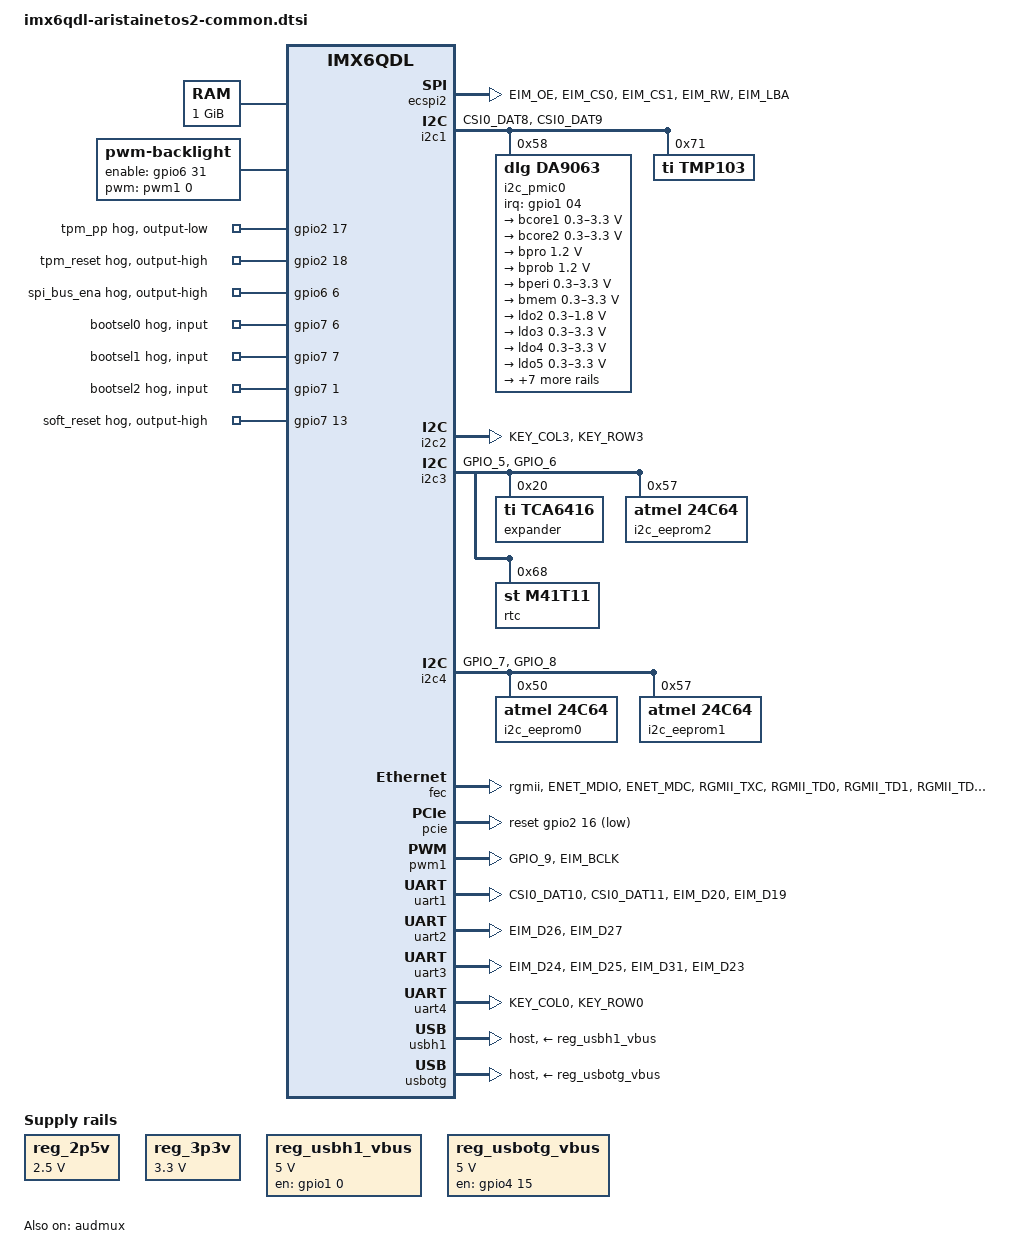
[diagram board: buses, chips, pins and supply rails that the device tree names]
// SPDX-License-Identifier: (GPL-2.0)
/*
 * support for the imx6 based aristainetos2 boards
 * parts common to all versions
 *
 * Copyright (C) 2019 Heiko Schocher <hs@denx.de>
 * Copyright (C) 2015 Heiko Schocher <hs@denx.de>
 *
 */
#include <dt-bindings/gpio/gpio.h>
#include <dt-bindings/clock/imx6qdl-clock.h>

/ {
	aliases {
		eeprom0 = &i2c_eeprom0;
		eeprom1 = &i2c_eeprom1;
		eeprom2 = &i2c_eeprom2;
		pmic0 = &i2c_pmic0;
	};

	memory@10000000 {
		device_type = "memory";
		reg = <0x10000000 0x40000000>;
	};

	backlight: backlight {
		compatible = "pwm-backlight";
		pwms = <&pwm1 0 5000000>;
		brightness-levels = <0 4 8 16 32 64 128 255>;
		default-brightness-level = <7>;
		enable-gpios = <&gpio6 31 GPIO_ACTIVE_HIGH>;
	};

	reg_2p5v: regulator-2p5v {
		compatible = "regulator-fixed";
		regulator-name = "2P5V";
		regulator-min-microvolt = <2500000>;
		regulator-max-microvolt = <2500000>;
		regulator-always-on;
	};

	reg_3p3v: regulator-3p3v {
		compatible = "regulator-fixed";
		regulator-name = "3P3V";
		regulator-min-microvolt = <3300000>;
		regulator-max-microvolt = <3300000>;
		regulator-always-on;
	};

	reg_usbh1_vbus: regulator-usbh1-vbus {
		compatible = "regulator-fixed";
		enable-active-high;
		gpio = <&gpio1 0 GPIO_ACTIVE_HIGH>;
		pinctrl-names = "default";
		pinctrl-0 = <&pinctrl_aristainetos2_usbh1_vbus>;
		regulator-name = "usb_h1_vbus";
		regulator-min-microvolt = <5000000>;
		regulator-max-microvolt = <5000000>;
	};

	reg_usbotg_vbus: regulator-usbotg-vbus {
		compatible = "regulator-fixed";
		enable-active-high;
		gpio = <&gpio4 15 GPIO_ACTIVE_HIGH>;
		pinctrl-names = "default";
		pinctrl-0 = <&pinctrl_aristainetos2_usbotg_vbus>;
		regulator-name = "usb_otg_vbus";
		regulator-min-microvolt = <5000000>;
		regulator-max-microvolt = <5000000>;
	};
};

&audmux {
	pinctrl-names = "default";
	pinctrl-0 = <&pinctrl_audmux>;
	status = "okay";
};

&ecspi2 {
	cs-gpios = <&gpio2 26 GPIO_ACTIVE_HIGH &gpio2 27 GPIO_ACTIVE_HIGH>;
	pinctrl-names = "default";
	pinctrl-0 = <&pinctrl_ecspi2>;
	status = "okay";
};

&i2c1 {
	pinctrl-names = "default";
	pinctrl-0 = <&pinctrl_i2c1>;
	status = "okay";

	i2c_pmic0: pmic@58 {
		compatible = "dlg,da9063";
		/* the pmic uses addr 0x58 and 0x59 */
		reg = <0x58>;
		interrupt-parent = <&gpio1>;
		interrupts = <04 0x8>;

		regulators {
			bcore1 {
				regulator-name = "bcore1";
				regulator-always-on = <1>;
				regulator-min-microvolt = <300000>;
				regulator-max-microvolt = <3300000>;
			};

			bcore2 {
				regulator-name = "bcore2";
				regulator-always-on = <1>;
				regulator-min-microvolt = <300000>;
				regulator-max-microvolt = <3300000>;
			};

			bpro {
				regulator-name = "bpro";
				regulator-always-on = <1>;
				regulator-min-microvolt = <1200000>;
				regulator-max-microvolt = <1200000>;
			};

			bprob {
				regulator-name = "bprob";
				regulator-always-on = <1>;
				regulator-min-microvolt = <1200000>;
				regulator-max-microvolt = <1200000>;
			};

			bperi {
				regulator-name = "bperi";
				regulator-always-on = <1>;
				regulator-min-microvolt = <300000>;
				regulator-max-microvolt = <3300000>;
			};

			bmem {
				regulator-name = "bmem";
				regulator-always-on = <1>;
				regulator-min-microvolt = <300000>;
				regulator-max-microvolt = <3300000>;
			};

			ldo2 {
				regulator-name = "ldo2";
				regulator-always-on = <1>;
				regulator-min-microvolt = <300000>;
				regulator-max-microvolt = <1800000>;
			};

			ldo3 {
				regulator-name = "ldo3";
				regulator-always-on = <1>;
				regulator-min-microvolt = <300000>;
				regulator-max-microvolt = <3300000>;
			};

			ldo4 {
				regulator-name = "ldo4";
				regulator-always-on = <1>;
				regulator-min-microvolt = <300000>;
				regulator-max-microvolt = <3300000>;
			};

			ldo5 {
				regulator-name = "ldo5";
				regulator-always-on = <1>;
				regulator-min-microvolt = <300000>;
				regulator-max-microvolt = <3300000>;
			};

			ldo6 {
				regulator-name = "ldo6";
				regulator-always-on = <1>;
				regulator-min-microvolt = <300000>;
				regulator-max-microvolt = <3300000>;
			};

			ldo7 {
				regulator-name = "ldo7";
				regulator-always-on = <1>;
				regulator-min-microvolt = <300000>;
				regulator-max-microvolt = <3300000>;
			};

			ldo8 {
				regulator-name = "ldo8";
				regulator-always-on = <1>;
				regulator-min-microvolt = <300000>;
				regulator-max-microvolt = <3300000>;
			};

			ldo9 {
				regulator-name = "ldo9";
				regulator-always-on = <1>;
				regulator-min-microvolt = <300000>;
				regulator-max-microvolt = <3300000>;
			};

			ldo10 {
				regulator-name = "ldo10";
				regulator-always-on = <1>;
				regulator-min-microvolt = <300000>;
				regulator-max-microvolt = <3300000>;
			};

			ldo11 {
				regulator-name = "ldo11";
				regulator-always-on = <1>;
				regulator-min-microvolt = <300000>;
				regulator-max-microvolt = <3300000>;
			};

			bio {
				regulator-name = "bio";
				regulator-always-on = <1>;
				regulator-min-microvolt = <1800000>;
				regulator-max-microvolt = <1800000>;
			};
		};
	};

	tmp103: tmp103@71 {
		compatible = "ti,tmp103";
		reg = <0x71>;
	};
};

&i2c2 {
	pinctrl-names = "default";
	pinctrl-0 = <&pinctrl_i2c2>;
	status = "okay";
};

&i2c3 {
	pinctrl-names = "default";
	pinctrl-0 = <&pinctrl_i2c3>;
	status = "okay";

	expander: tca6416@20 {
		compatible = "ti,tca6416";
		reg = <0x20>;
		#gpio-cells = <2>;
		gpio-controller;

		env_reset {
			gpio-hog;
			input;
			gpios = <6 GPIO_ACTIVE_LOW>;
		};
		boot_rescue {
			gpio-hog;
			input;
			gpios = <7 GPIO_ACTIVE_LOW>;
		};
	};

	i2c_eeprom2: eeprom@57{
		compatible = "atmel,24c64";
		reg = <0x57>;
		pagesize = <32>;
	};

	rtc@68 {
		compatible = "st,m41t11";
		reg = <0x68>;
	};
};

&i2c4 {
	pinctrl-names = "default";
	pinctrl-0 = <&pinctrl_i2c4>;
	status = "okay";

	i2c_eeprom0: eeprom@50{
		compatible = "atmel,24c64";
		reg = <0x50>;
		pagesize = <32>;
	};

	i2c_eeprom1: eeprom@57{
		compatible = "atmel,24c64";
		reg = <0x57>;
		pagesize = <32>;
	};
};

&gpio2 {
	tpm_pp {
		gpio-hog;
		output-low;
		gpios = <17 GPIO_ACTIVE_HIGH>;
	};
	tpm_reset {
		gpio-hog;
		output-high;
		gpios = <18 GPIO_ACTIVE_HIGH>;
	};
};

&gpio6 {
	spi_bus_ena {
		gpio-hog;
		output-high;
		gpios = <6 GPIO_ACTIVE_HIGH>;
	};
};

&gpio7 {
	bootsel0 {
		gpio-hog;
		input;
		gpios = <6 GPIO_ACTIVE_HIGH>;
	};
	bootsel1 {
		gpio-hog;
		input;
		gpios = <7 GPIO_ACTIVE_HIGH>;
	};
	bootsel2 {
		gpio-hog;
		input;
		gpios = <1 GPIO_ACTIVE_HIGH>;
	};

	soft_reset {
		gpio-hog;
		output-high;
		gpios = <13 GPIO_ACTIVE_HIGH>;
	};
};

&fec {
	pinctrl-names = "default";
	pinctrl-0 = <&pinctrl_enet>;
	phy-mode = "rgmii";
	txd0-skew-ps = <0>;
	txd1-skew-ps = <0>;
	txd2-skew-ps = <0>;
	txd3-skew-ps = <0>;
	status = "okay";
};

&pcie {
	reset-gpio = <&gpio2 16 GPIO_ACTIVE_LOW>;
	status = "okay";
};

&pwm1 {
	#pwm-cells = <2>;
	pinctrl-names = "default";
	pinctrl-0 = <&pinctrl_pwm1>;
	status = "okay";
};

&uart1 {
	pinctrl-names = "default";
	pinctrl-0 = <&pinctrl_uart1>;
	uart-has-rtscts;
	status = "okay";
};

&uart2 {
	pinctrl-names = "default";
	pinctrl-0 = <&pinctrl_uart2>;
	status = "okay";
};

&uart3 {
	pinctrl-names = "default";
	pinctrl-0 = <&pinctrl_uart3>;
	uart-has-rtscts;
	status = "okay";
};

&uart4 {
	pinctrl-names = "default";
	pinctrl-0 = <&pinctrl_uart4>;
	status = "okay";
};

&usbh1 {
	vbus-supply = <&reg_usbh1_vbus>;
	dr_mode = "host";
	status = "okay";
};

&usbotg {
	vbus-supply = <&reg_usbotg_vbus>;
	pinctrl-names = "default";
	pinctrl-0 = <&pinctrl_usbotg>;
	disable-over-current;
	dr_mode = "host";   /* fixed configuration, ID pin not checked */
	status = "okay";
};

&iomuxc {
	pinctrl-names = "default";
	pinctrl-0 = <&pinctrl_gpio>;

	pinctrl_audmux: audmux {
		fsl,pins = <
			MX6QDL_PAD_CSI0_DAT7__AUD3_RXD  0x1b0b0
			MX6QDL_PAD_CSI0_DAT4__AUD3_TXC  0x1b0b0
			MX6QDL_PAD_CSI0_DAT5__AUD3_TXD  0x1b0b0
			MX6QDL_PAD_CSI0_DAT6__AUD3_TXFS 0x1b0b0
		>;
	};

	pinctrl_ecspi2: ecspi2grp {
		fsl,pins = <
			MX6QDL_PAD_EIM_OE__ECSPI2_MISO  0x100b1
			MX6QDL_PAD_EIM_CS0__ECSPI2_SCLK 0x100b1
			MX6QDL_PAD_EIM_CS1__ECSPI2_MOSI 0x100b1
			MX6QDL_PAD_EIM_RW__GPIO2_IO26   0x100b1 /* SS0# */
			MX6QDL_PAD_EIM_LBA__GPIO2_IO27  0x100b1 /* SS1# */
		>;
	};

	pinctrl_enet: enetgrp {
		fsl,pins = <
			MX6QDL_PAD_ENET_MDIO__ENET_MDIO		0x1b0b0
			MX6QDL_PAD_ENET_MDC__ENET_MDC		0x1b0b0
			MX6QDL_PAD_RGMII_TXC__RGMII_TXC		0x1b0b0
			MX6QDL_PAD_RGMII_TD0__RGMII_TD0		0x1b0b0
			MX6QDL_PAD_RGMII_TD1__RGMII_TD1		0x1b0b0
			MX6QDL_PAD_RGMII_TD2__RGMII_TD2		0x1b0b0
			MX6QDL_PAD_RGMII_TD3__RGMII_TD3		0x1b0b0
			MX6QDL_PAD_RGMII_TX_CTL__RGMII_TX_CTL	0x1b0b0
			MX6QDL_PAD_ENET_REF_CLK__ENET_TX_CLK	0x400100b0
			MX6QDL_PAD_RGMII_RXC__RGMII_RXC		0x1b0b0
			MX6QDL_PAD_RGMII_RD0__RGMII_RD0		0x1b0b0
			MX6QDL_PAD_RGMII_RD1__RGMII_RD1		0x1b0b0
			MX6QDL_PAD_RGMII_RD2__RGMII_RD2		0x1b0b0
			MX6QDL_PAD_RGMII_RD3__RGMII_RD3		0x1b0b0
			MX6QDL_PAD_RGMII_RX_CTL__RGMII_RX_CTL	0x1b0b0
			/* make sure pin is GPIO and not ENET_REF_CLK */
			MX6QDL_PAD_GPIO_16__GPIO7_IO11	0x1a0b0
		>;
	};

	pinctrl_i2c1: i2c1grp {
		fsl,pins = <
			MX6QDL_PAD_CSI0_DAT8__I2C1_SDA 0x4001b8b1
			MX6QDL_PAD_CSI0_DAT9__I2C1_SCL 0x4001b8b1
		>;
	};

	pinctrl_i2c2: i2c2grp {
		fsl,pins = <
			MX6QDL_PAD_KEY_COL3__I2C2_SCL 0x4001b8b1
			MX6QDL_PAD_KEY_ROW3__I2C2_SDA 0x4001b8b1
		>;
	};

	pinctrl_i2c3: i2c3grp {
		fsl,pins = <
			MX6QDL_PAD_GPIO_5__I2C3_SCL 0x4001b8b1
			MX6QDL_PAD_GPIO_6__I2C3_SDA 0x4001b8b1
		>;
	};

	pinctrl_i2c4: i2c4grp {
		fsl,pins = <
			MX6QDL_PAD_GPIO_7__I2C4_SCL 0x4001b8b1
			MX6QDL_PAD_GPIO_8__I2C4_SDA 0x4001b8b1
		>;
	};

	pinctrl_pwm1: pwm1grp {
		fsl,pins = <
			MX6QDL_PAD_GPIO_9__PWM1_OUT	0x1b0b0
			/* backlight enable */
			MX6QDL_PAD_EIM_BCLK__GPIO6_IO31	0x1b0b0
		>;
	};

	pinctrl_uart1: uart1grp {
		fsl,pins = <
			MX6QDL_PAD_CSI0_DAT10__UART1_TX_DATA	0x1b0b1
			MX6QDL_PAD_CSI0_DAT11__UART1_RX_DATA	0x1b0b1
			MX6QDL_PAD_EIM_D20__UART1_RTS_B		0x1b0b1
			MX6QDL_PAD_EIM_D19__UART1_CTS_B		0x1b0b1
		>;
	};

	pinctrl_uart2: uart2grp {
		fsl,pins = <
			MX6QDL_PAD_EIM_D26__UART2_TX_DATA 0x1b0b1
			MX6QDL_PAD_EIM_D27__UART2_RX_DATA 0x1b0b1
		>;
	};

	pinctrl_uart3: uart3grp {
		fsl,pins = <
			MX6QDL_PAD_EIM_D24__UART3_TX_DATA 0x1b0b1
			MX6QDL_PAD_EIM_D25__UART3_RX_DATA 0x1b0b1
			MX6QDL_PAD_EIM_D31__UART3_RTS_B	  0x1b0b1
			MX6QDL_PAD_EIM_D23__UART3_CTS_B	  0x1b0b1
		>;
	};

	pinctrl_uart4: uart4grp {
		fsl,pins = <
			MX6QDL_PAD_KEY_COL0__UART4_TX_DATA 0x1b0b1
			MX6QDL_PAD_KEY_ROW0__UART4_RX_DATA 0x1b0b1
		>;
	};

	pinctrl_aristainetos2_usbh1_vbus: aristainetos-usbh1-vbus {
		fsl,pins = <MX6QDL_PAD_GPIO_0__GPIO1_IO00 0x400130b0>;
	};

	pinctrl_aristainetos2_usbotg_vbus: aristainetos-usbotg-vbus {
		fsl,pins = <MX6QDL_PAD_KEY_ROW4__GPIO4_IO15 0x400130b0>;
	};
};
